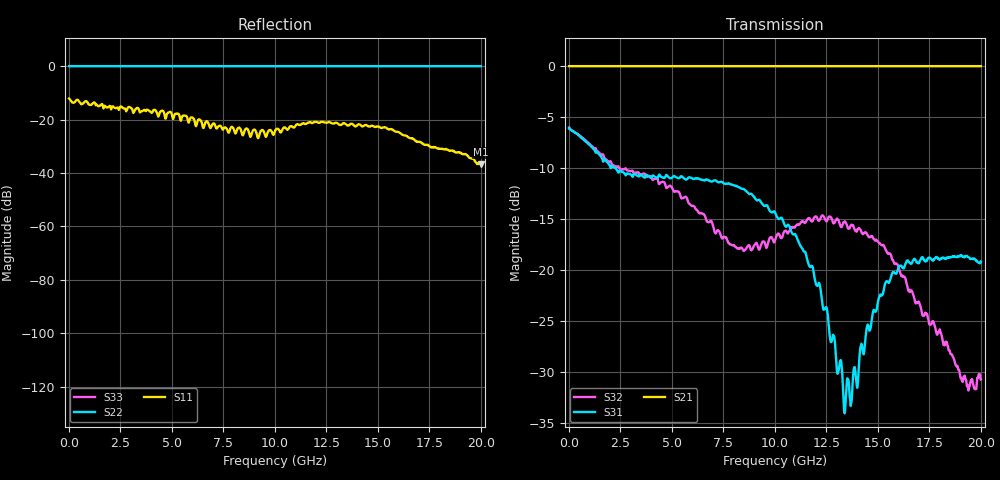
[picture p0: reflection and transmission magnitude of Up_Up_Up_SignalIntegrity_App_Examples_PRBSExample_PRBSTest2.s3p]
! File created by SignalIntegrity v1.3.2: Signal and Power Integrity Tools
! https://github.com/TeledyneLeCroy/SignalIntegrity
# MHz S MA R 50.0
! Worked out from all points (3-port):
!   2000 points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, 10 MHz to 20 GHz, reference 50 ohm
!   strongest paths, dB at 10 MHz, 5.01 GHz, 10.01 GHz, 15.01 GHz, 20 GHz:
!     S21: 0.0, 0.0, 0.0, 0.0, 0.0
!     S31: -6.1, -10.9, -14.3, -23.0, -19.1
!     S32: -6.0, -11.9, -17.1, -17.2, -30.7
!   lowest |S11| = -36.7 dB at 20 GHz (marker M1), VSWR 1.03, Z = 48.9 + j0.946 ohm
!   |S11| at or under -10 dB: start of sweep to end of sweep
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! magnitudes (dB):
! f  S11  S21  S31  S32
! 10 MHz  -12.1  0.0  -6.1  -6.0
! 10.01 GHz  -24.3  0.0  -14.3  -17.1
! 12.26 GHz  -20.8  0.0  -22.6  -14.7
! 12.65 GHz  -20.9  0.0  -26.3  -14.7
! 12.89 GHz  -21.4  0.0  -26.7  -15.3
! 13.17 GHz  -22.0  0.0  -28.9  -15.6
! 13.69 GHz  -21.6  0.0  -33.2  -15.6
! 14.82 GHz  -22.7  0.0  -23.9  -17.0
! 16.43 GHz  -26.3  0.0  -19.1  -21.6
! 20 GHz  -36.7  0.0  -19.1  -30.7
